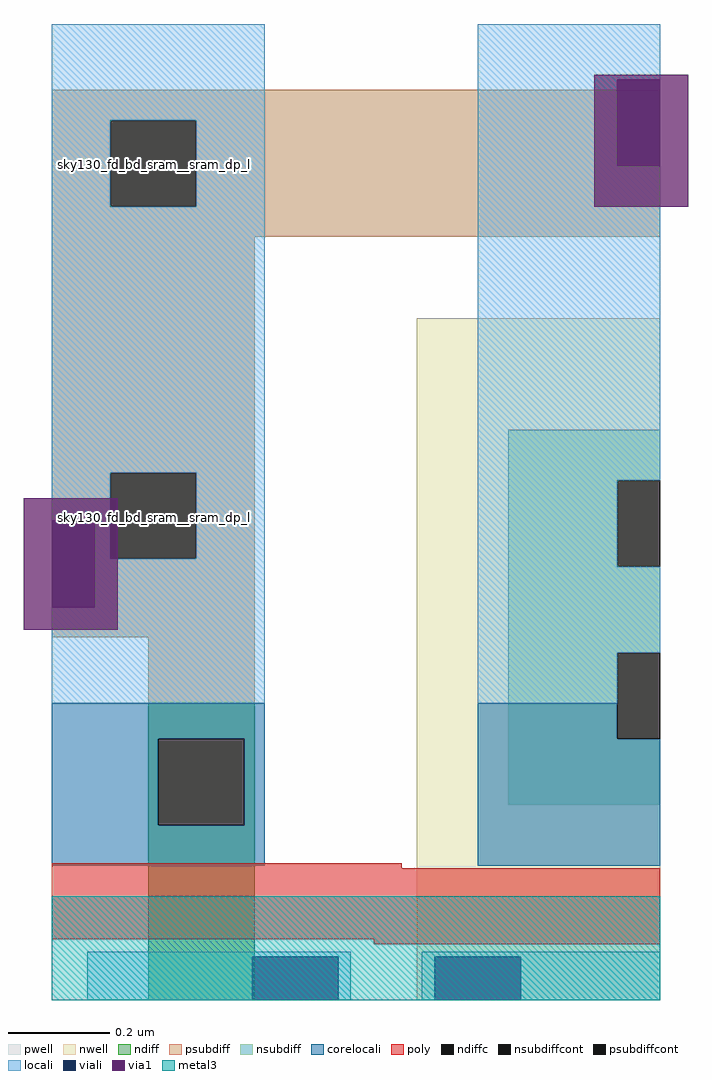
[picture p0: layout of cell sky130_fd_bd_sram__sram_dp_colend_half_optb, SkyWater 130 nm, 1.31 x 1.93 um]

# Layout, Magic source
magic
tech sky130A
magscale 1 2
<< nwell >>
rect 144 0 240 269
<< pwell >>
rect 0 301 240 359
rect 0 143 80 301
rect 38 117 80 143
<< ndiff >>
rect 38 103 80 117
rect 38 69 42 103
rect 76 69 80 103
rect 38 0 80 69
<< ndiffc >>
rect 42 69 76 103
<< psubdiff >>
rect 0 347 240 359
rect 0 313 23 347
rect 57 313 240 347
rect 0 301 240 313
rect 0 208 80 301
rect 0 174 23 208
rect 57 174 80 208
rect 0 143 80 174
rect 38 117 80 143
<< nsubdiff >>
rect 180 205 240 225
rect 180 171 223 205
rect 180 137 240 171
rect 180 103 223 137
rect 180 77 240 103
<< psubdiffcont >>
rect 23 313 57 347
rect 23 174 57 208
<< nsubdiffcont >>
rect 223 171 240 205
rect 223 103 240 137
<< locali >>
rect 0 347 84 385
rect 0 313 23 347
rect 57 313 84 347
rect 0 208 84 313
rect 0 189 23 208
rect 17 174 23 189
rect 57 174 84 208
rect 17 155 84 174
rect 0 117 84 155
rect 168 363 240 385
rect 168 329 223 363
rect 168 205 240 329
rect 168 171 223 205
rect 168 137 240 171
rect 168 117 223 137
<< corelocali >>
rect 0 103 84 117
rect 0 69 42 103
rect 76 69 84 103
rect 0 53 84 69
rect 168 103 223 117
rect 168 53 240 103
<< viali >>
rect 0 155 17 189
rect 223 329 240 363
<< via1 >>
rect 214 363 251 365
rect 214 329 223 363
rect 223 329 240 363
rect 240 329 251 363
rect 214 313 251 329
rect -11 189 26 198
rect -11 155 0 189
rect 0 155 17 189
rect 17 155 26 189
rect -11 146 26 155
<< metal3 >>
rect 0 0 240 41
use sky130_fd_bd_sram__sram_dp_licon_1  sky130_fd_bd_sram__sram_dp_licon_1_0
transform 1 0 40 0 1 191
box 0 -1 1 1
use sky130_fd_bd_sram__sram_dp_licon_1  sky130_fd_bd_sram__sram_dp_licon_1_1
transform 1 0 40 0 1 330
box 0 -1 1 1
use sky130_fd_bd_sram__sram_dp_colend_half_limcon_optb  sky130_fd_bd_sram__sram_dp_colend_half_limcon_optb_0
transform 1 0 0 0 1 0
box 14 0 240 19
use sky130_fd_bd_sram__sram_dp_cell_half_wl  sky130_fd_bd_sram__sram_dp_cell_half_wl_0
transform 1 0 0 0 1 24
box 0 -2 240 30
<< properties >>
string GDS_FILE sky130_fd_bd_sram__sram_dp_colend_half_optb.gds
string GDS_END 3106
string GDS_START 1024
<< end >>

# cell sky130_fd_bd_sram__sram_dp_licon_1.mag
magic
tech sky130A
magscale 1 2
use sky130_fd_bd_sram__sram_dp_licon_05  sky130_fd_bd_sram__sram_dp_licon_05_0
transform 1 0 0 0 -1 0
box 0 0 1 1
use sky130_fd_bd_sram__sram_dp_licon_05  sky130_fd_bd_sram__sram_dp_licon_05_1
transform 1 0 0 0 1 0
box 0 0 1 1
<< properties >>
string GDS_FILE sky130_fd_bd_sram__sram_dp_licon_1.gds
string GDS_END 424
string GDS_START 294
<< end >>

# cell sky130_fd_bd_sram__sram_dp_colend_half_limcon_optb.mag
magic
tech sky130A
magscale 1 2
<< locali >>
rect 14 17 118 19
rect 14 0 79 17
rect 113 0 118 17
rect 146 17 240 19
rect 146 0 151 17
rect 185 0 240 17
<< viali >>
rect 79 0 113 17
rect 151 0 185 17
<< properties >>
string GDS_FILE sky130_fd_bd_sram__sram_dp_colend_half_limcon_optb.gds
string GDS_END 450
string GDS_START 190
<< end >>

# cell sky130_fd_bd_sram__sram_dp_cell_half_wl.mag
magic
tech sky130A
magscale 1 2
<< poly >>
rect 0 28 138 30
rect 0 0 240 28
rect 127 -2 240 0
<< properties >>
string GDS_FILE sky130_fd_bd_sram__sram_dp_cell_half_wl.gds
string GDS_END 270
string GDS_START 170
<< end >>
